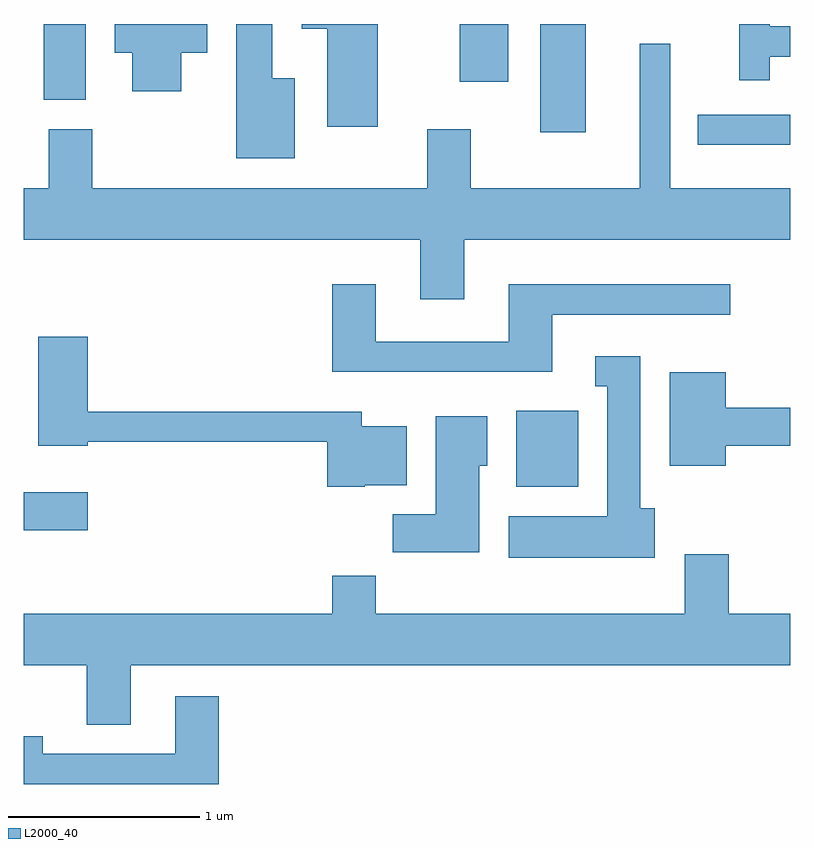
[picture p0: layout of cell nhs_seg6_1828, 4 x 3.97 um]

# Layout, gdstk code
import gdstk
lib = gdstk.Library(unit=1e-6, precision=1e-09)
def R(c, l, rs):  # rectangles x0, y0, x1, y1
    for r in rs: c.add(gdstk.rectangle(r[:2], r[2:], *l))
def P(c, l, *ps):  # polygons
    for p in ps: c.add(gdstk.Polygon(p, *l))
L2000_40 = (2000, 40)

nhs_seg6_1828 = lib.new_cell('nhs_seg6_1828')
R(nhs_seg6_1828, L2000_40, [(239.611,1659.521,239.944,1659.719), (242.181,1659.746,242.504,1660.144), (243.128,1661.531,243.611,1661.689), (242.306,1661.596,242.544,1662.162), (239.716,1661.766,239.934,1662.162), (241.886,1661.861,242.139,1662.162)])
P(nhs_seg6_1828, L2000_40, [(243.504,1661.991),(243.611,1661.991),(243.611,1662.149),(243.504,1662.149),(243.504,1662.162),(243.346,1662.162),(243.346,1661.868),(243.504,1661.868)],
  [(241.024,1661.879),(240.909,1661.879),(240.909,1662.162),(240.721,1662.162),(240.721,1661.461),(241.024,1661.461)],
  [(241.459,1662.162),(241.061,1662.162),(241.061,1662.136),(241.196,1662.136),(241.196,1661.626),(241.459,1661.626)],
  [(240.434,1662.011),(240.569,1662.011),(240.569,1662.162),(240.086,1662.162),(240.086,1662.011),(240.176,1662.011),(240.176,1661.811),(240.434,1661.811)],
  [(241.716,1661.304),(239.969,1661.304),(239.969,1661.614),(239.741,1661.614),(239.741,1661.304),(239.611,1661.304),(239.611,1661.036),(241.681,1661.036),(241.681,1660.726),(241.909,1660.726),(241.909,1661.036),(243.611,1661.036),(243.611,1661.304),(242.984,1661.304),(242.984,1662.058),(242.826,1662.058),(242.826,1661.304),(241.944,1661.304),(241.944,1661.614),(241.716,1661.614)],
  [(242.369,1660.646),(243.298,1660.646),(243.298,1660.804),(242.141,1660.804),(242.141,1660.504),(241.449,1660.504),(241.449,1660.804),(241.221,1660.804),(241.221,1660.346),(242.369,1660.346)],
  [(241.39,1659.756),(241.609,1659.756),(241.609,1660.064),(241.374,1660.064),(241.374,1660.139),(239.944,1660.139),(239.944,1660.529),(239.686,1660.529),(239.686,1659.961),(239.944,1659.961),(239.944,1659.981),(241.196,1659.981),(241.196,1659.746),(241.39,1659.746)],
  [(242.904,1659.634),(242.829,1659.634),(242.829,1660.429),(242.593,1660.429),(242.593,1660.271),(242.656,1660.271),(242.656,1659.594),(242.141,1659.594),(242.141,1659.376),(242.904,1659.376)],
  [(243.274,1659.961),(243.611,1659.961),(243.611,1660.159),(243.274,1660.159),(243.274,1660.344),(242.981,1660.344),(242.981,1659.856),(243.274,1659.856)],
  [(241.989,1659.856),(242.029,1659.856),(242.029,1660.114),(241.761,1660.114),(241.761,1659.604),(241.536,1659.604),(241.536,1659.406),(241.989,1659.406)],
  [(240.169,1658.816),(243.611,1658.816),(243.611,1659.084),(243.289,1659.084),(243.289,1659.394),(243.061,1659.394),(243.061,1659.084),(241.449,1659.084),(241.449,1659.284),(241.221,1659.284),(241.221,1659.084),(239.611,1659.084),(239.611,1658.816),(239.941,1658.816),(239.941,1658.506),(240.169,1658.506)],
  [(240.629,1658.654),(240.401,1658.654),(240.401,1658.354),(239.709,1658.354),(239.709,1658.444),(239.611,1658.444),(239.611,1658.196),(240.629,1658.196)])

lib.write_gds('nhs_seg6_1828.gds')
